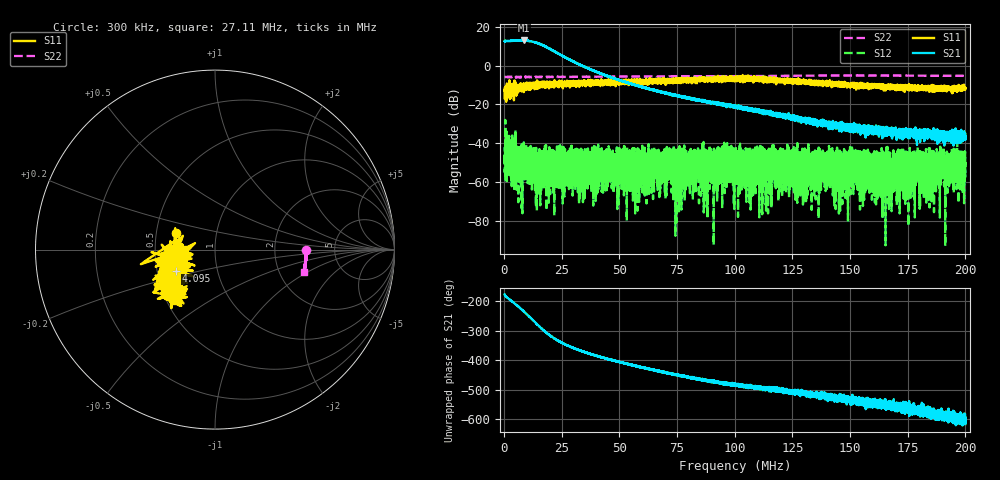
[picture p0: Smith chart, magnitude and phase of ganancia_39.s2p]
# Hz S DB R 50
! CMT, M5065, 19127446, 24.2.4/2
! Date: 11/8/2024 5:15:56 PM
! Data: Format (Calibration Info)
! Freq	S11:dB/Ang(F2)	S21:dB/Ang(F2)	S12:dB/Ang(F2)	S22:dB/Ang(F2)
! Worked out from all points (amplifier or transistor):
!   9000 points, 300 kHz to 200 MHz, reference 50 ohm
!   highest |S21| = 12.9 dB at 8.533 MHz (marker M1)
!   |S21| within 3 dB of that: start of sweep to 17.75 MHz
!   unconditionally stable (mu >= 1): start of sweep to end of sweep
!   at 33.59 MHz: K = 468.57, MAG = 2.0 dB, |S12| = -63.3 dB
!   at 100.2 MHz: K = 517.63, MAG = -18.5 dB, |S12| = -44.3 dB
!   at 200 MHz: K = 5722.62, MAG = -33.4 dB, |S12| = -49.6 dB
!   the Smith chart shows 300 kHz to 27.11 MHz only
!   S11 on the Smith chart (normalised r, x): 300 kHz: 0.64, +0.12; 4.095 MHz: 0.63, -0.16; 27.11 MHz: 0.54, -0.36
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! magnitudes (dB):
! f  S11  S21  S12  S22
! 300 kHz  -12.6  12.6  -46.0  -5.9
! 4.095 MHz  -12.2  12.8  -52.1  -5.9
! 8.533 MHz  -9.2  12.9  -53.6  -5.9
! 27.11 MHz  -8.6  3.9  -47.3  -5.8
! 33.59 MHz  -9.4  0.1  -63.3  -5.8
! 45.64 MHz  -8.8  -5.7  -56.1  -5.7
! 59.84 MHz  -8.2  -10.9  -50.5  -5.6
! 62.04 MHz  -8.7  -11.9  -47.4  -5.6
! 66.87 MHz  -7.1  -13.0  -48.3  -5.6
! 69.47 MHz  -8.3  -14.0  -55.2  -5.5
! 71.53 MHz  -8.0  -14.7  -54.4  -5.5
! 75.04 MHz  -8.0  -15.7  -57.6  -5.5
! 80.63 MHz  -6.9  -16.7  -52.3  -5.5
! 91.82 MHz  -6.2  -19.0  -54.5  -5.5
! 97.61 MHz  -7.2  -20.7  -48.2  -5.5
! 100.2 MHz  -6.9  -20.9  -44.3  -5.4
! 133.4 MHz  -9.4  -27.6  -51.2  -5.2
! 166.7 MHz  -11.4  -35.5  -44.9  -5.1
! 188 MHz  -11.4  -33.7  -59.9  -5.2
! 190.1 MHz  -11.8  -35.0  -51.2  -5.2
! 192.1 MHz  -12.1  -36.7  -46.1  -5.2
! 200 MHz  -11.7  -35.2  -49.6  -5.3
